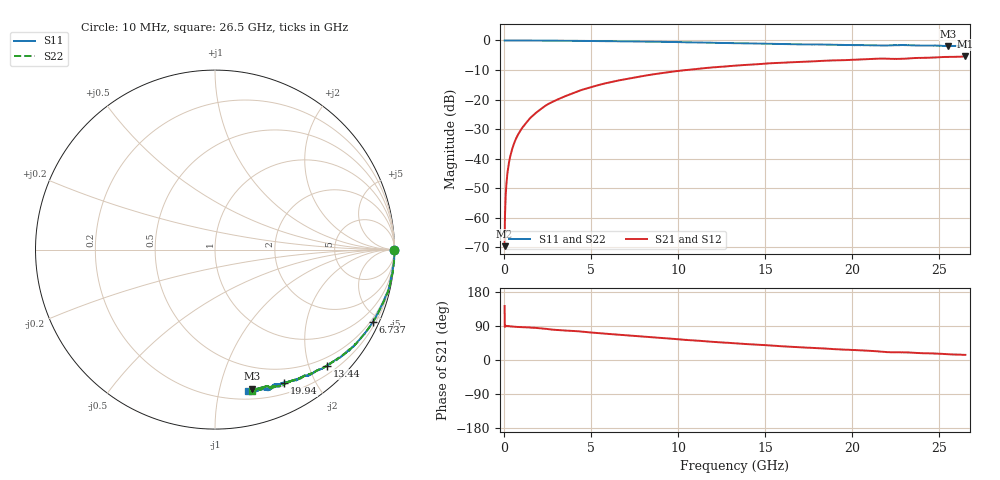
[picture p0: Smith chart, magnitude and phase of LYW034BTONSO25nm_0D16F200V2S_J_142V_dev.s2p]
!Keysight Technologies,N5222B,MY61253708,A.15.00.15
!Date: Wednesday, June 19, 2024 10:04:36
!Correction: S11(C  2-Port  )
!S21(C  2-Port  )
!S12(C  2-Port  )
!S22(C  2-Port  )
!S2P File: Measurements: S11, S21, S12, S22:
# Hz S  RI  R 50
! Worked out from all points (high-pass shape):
!   2651 points, 10 MHz to 26.5 GHz, reference 50 ohm
!   highest |S21| = -5.40 dB at 26.5 GHz (marker M1); lowest = -69.6 dB at 10 MHz (marker M2)
!   |S21| within 3 dB of the highest: 13.57 GHz to end of sweep
!   lowest |S11| = -1.9 dB at 25.5 GHz (marker M3), VSWR 9.08, Z = 14.5 - j62.9 ohm
!   |S11| at or under -10 dB: nowhere
!   |S22| runs from -1.8 to 0.0 dB; largest |S21 - S12| = 0.0059
!   S11 on the Smith chart (normalised r, x): 10 MHz: open; 6.737 GHz: 0.36, -4.56; 13.44 GHz: 0.34, -2.31; 19.94 GHz: 0.32, -1.60; 26.5 GHz: 0.27, -1.23
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1e7  0.9988 -0.00291  -0.000262 0.000201  6.14e-05 0.000543  0.9987 -0.00126
7.997358e7  0.9999 -0.00576  -1.78e-05 0.00262  1.62e-05 0.00264  0.9994 -0.00514
1.599434e8  1 -0.0113  4.64e-05 0.00524  4.45e-05 0.00527  0.9997 -0.0104
2.099245e8  0.9998 -0.0141  8.42e-05 0.00692  0.00011 0.0069  0.9995 -0.0134
2.699019e8  0.9998 -0.0183  0.00014 0.00887  0.000143 0.00887  1 -0.0173
3.698642e8  0.9997 -0.0253  0.000283 0.0121  0.000306 0.0122  0.9996 -0.0242
4.998151e8  0.9989 -0.0335  0.000525 0.0163  0.000553 0.0165  0.9989 -0.0321
6.597547e8  0.9985 -0.0436  0.000862 0.0215  0.00086 0.0217  0.9987 -0.042
8.49683e8  0.9982 -0.0561  0.00149 0.0277  0.00148 0.0278  0.9979 -0.0553
1.459453e9  0.991 -0.0975  0.00352 0.0478  0.00359 0.0479  0.9933 -0.0928
2.339121e9  0.9822 -0.1513  0.00984 0.0774  0.00997 0.0777  0.9834 -0.1505
3.218789e9  0.9712 -0.207  0.0207 0.1032  0.0209 0.1038  0.9723 -0.2047
4.428332e9  0.9436 -0.2789  0.0376 0.1402  0.0379 0.1409  0.946 -0.2745
6.73746e9  0.8802 -0.4026  0.0875 0.1969  0.0885 0.1975  0.8827 -0.3998
8.846664e9  0.8059 -0.5004  0.1426 0.2354  0.1439 0.2357  0.8094 -0.4964
1.3255e10  0.631 -0.6414  0.2689 0.2607  0.2708 0.2602  0.6381 -0.6375
1.344493e10  0.6234 -0.6481  0.2741 0.2604  0.2761 0.2595  0.6279 -0.6427
1.767333e10  0.4597 -0.7222  0.3753 0.2342  0.3781 0.2323  0.4743 -0.718
1.994248e10  0.3853 -0.7441  0.4196 0.2101  0.4214 0.2078  0.4039 -0.7394
2.209166e10  0.324 -0.7561  0.4586 0.1731  0.4598 0.17  0.3227 -0.7617
2.550038e10  0.2048 -0.7751  0.5084 0.1371  0.5093 0.1364  0.2297 -0.7777
2.65e10  0.1851 -0.7886  0.5218 0.1258  0.5208 0.1219  0.2034 -0.7874
